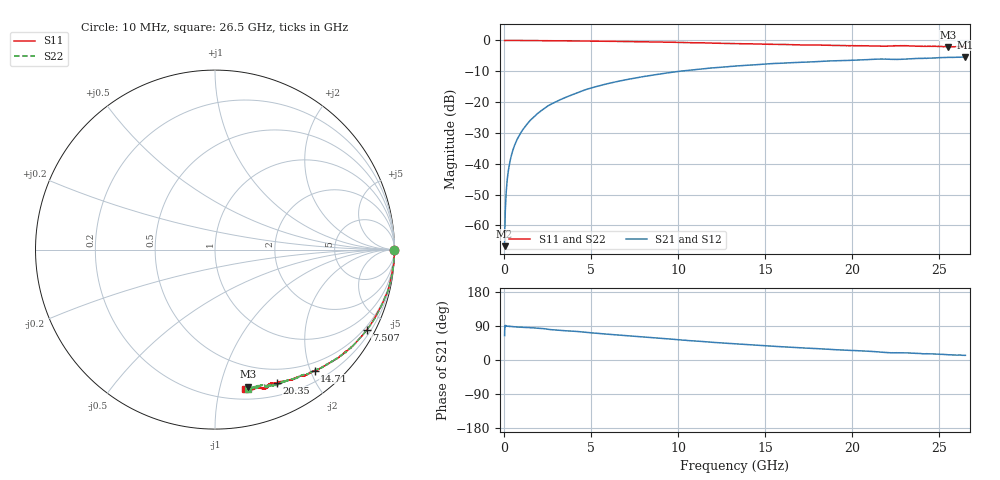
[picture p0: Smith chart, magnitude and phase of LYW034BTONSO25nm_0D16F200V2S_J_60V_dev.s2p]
!Keysight Technologies,N5222B,MY61253708,A.15.00.15
!Date: Wednesday, June 19, 2024 09:12:41
!Correction: S11(C  2-Port  )
!S21(C  2-Port  )
!S12(C  2-Port  )
!S22(C  2-Port  )
!S2P File: Measurements: S11, S21, S12, S22:
# Hz S  RI  R 50
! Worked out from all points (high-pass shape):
!   2651 points, 10 MHz to 26.5 GHz, reference 50 ohm
!   highest |S21| = -5.34 dB at 26.5 GHz (marker M1); lowest = -66.7 dB at 10 MHz (marker M2)
!   |S21| within 3 dB of the highest: 13.22 GHz to end of sweep
!   lowest |S11| = -2.1 dB at 25.5 GHz (marker M3), VSWR 8.33, Z = 15.3 - j61.2 ohm
!   |S11| at or under -10 dB: nowhere
!   |S22| runs from -2.0 to 0.0 dB; largest |S21 - S12| = 0.0067
!   S11 on the Smith chart (normalised r, x): 10 MHz: open; 7.507 GHz: 0.38, -3.98; 14.71 GHz: 0.36, -2.07; 20.35 GHz: 0.34, -1.52; 26.5 GHz: 0.28, -1.20
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1e7  0.9986 -0.0027  0.0002 0.000415  -0.000112 0.000402  0.9986 -0.00136
7.997358e7  0.9999 -0.00583  1.39e-05 0.00272  4.88e-05 0.00276  0.9993 -0.00535
1.599434e8  0.9998 -0.0118  6.12e-05 0.0055  5.84e-05 0.00552  0.9995 -0.011
2.099245e8  0.9997 -0.0148  0.000124 0.00721  0.000115 0.00722  0.9994 -0.014
2.699019e8  0.9996 -0.019  0.000185 0.00921  0.000172 0.00934  0.9997 -0.0182
3.798604e8  0.9993 -0.027  0.000326 0.013  0.000373 0.0131  0.9992 -0.026
5.098113e8  0.999 -0.0353  0.000661 0.0174  0.000634 0.0176  0.9991 -0.0343
8.696755e8  0.9978 -0.0598  0.00175 0.0295  0.00175 0.0297  0.997 -0.0589
1.489442e9  0.9897 -0.103  0.00436 0.0507  0.00445 0.051  0.9926 -0.0991
2.349117e9  0.9804 -0.1571  0.011 0.0808  0.0113 0.0814  0.9818 -0.1568
3.208792e9  0.968 -0.2131  0.0226 0.107  0.0228 0.1077  0.9684 -0.2115
4.428332e9  0.9387 -0.2872  0.041 0.1453  0.0414 0.1463  0.9407 -0.2836
5.817808e9  0.8994 -0.3636  0.0716 0.1821  0.0728 0.1831  0.9023 -0.3627
7.50717e9  0.8441 -0.4488  0.1137 0.2177  0.115 0.2186  0.845 -0.4486
8.846664e9  0.7922 -0.5098  0.152 0.2399  0.1536 0.2407  0.7947 -0.507
1.3255e10  0.6116 -0.6465  0.2816 0.2607  0.2841 0.2605  0.617 -0.6442
1.471445e10  0.5548 -0.6743  0.3197 0.2549  0.3218 0.2546  0.5599 -0.6701
1.767333e10  0.437 -0.721  0.3873 0.229  0.3909 0.2275  0.4501 -0.7181
2.035232e10  0.3465 -0.7419  0.4391 0.1986  0.4415 0.1965  0.364 -0.7426
2.209166e10  0.3028 -0.7491  0.4679 0.1646  0.4699 0.1618  0.2994 -0.7557
2.550038e10  0.1848 -0.7635  0.5153 0.1264  0.517 0.1265  0.2075 -0.768
2.65e10  0.1667 -0.7784  0.5285 0.1156  0.528 0.1119  0.1814 -0.7781
